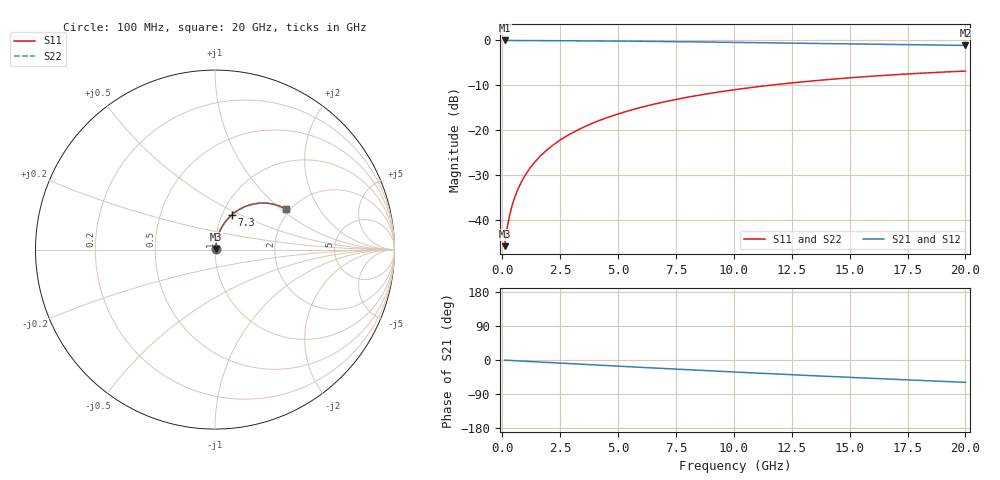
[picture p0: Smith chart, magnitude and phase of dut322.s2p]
! Touchstone file exported from HFSS 2026.1.0
!  File:  C:/ffzhzh/LocalFiles/Ansys_Project_Files/temp_train_TMRDL_322_1783003482_4048.aedt
!  Generated:  10:46:24 PM Jul  2, 2026
!  Design:  TMRDL
!  Project:  temp_train_TMRDL_322_1783003482_4048
! Variables:
!  h_bsmrdl = 2um
!  h_ox = 20um
!  h_rdl = 5um
!  h_sub = 80um
!  h_tmrdl = 3.42um
!  h_tsv = 80um
!  h_via = 3um
!  l_bsmrdl = 300um
!  l_sub = 1329.63um
!  l_tmrdl = 929.63um
!  m_sub = 200um
!  pitch = 53.65um
!  r_tsv = 6um
!  s_tmrdl = 10um
!  w_bsmrdl = 18um
!  w_sub = 500um
!  w_tmrdl = 27.07um
!  x_tsv_center1 = 943.165um
!  x_tsv_center2 = 1261.165um
!  x_tsv_center3 = 2217.865um
!  x_tsv_center4 = 2535.865um
!  x_tsv_center5 = 3492.565um
!  x_tsv_center6 = 3810.565um
# GHz S MA R 50.000000
! Terminal data exported
! Port[1] = TM_RDL1_1_T1
! Port[2] = TM_RDL1_1_T2
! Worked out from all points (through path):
!   200 points, 100 MHz to 20 GHz, reference 50 ohm
!   highest |S21| = -0.03 dB at 100 MHz (marker M1); lowest = -1.1 dB at 20 GHz (marker M2)
!   group delay of S21, straight-line fit = 8.19 ps
!   lowest |S11| = -45.7 dB at 100 MHz (marker M3), VSWR 1.01, Z = 50.4 + j0.351 ohm
!   |S11| at or under -10 dB: start of sweep to 11.53 GHz
!   |S22| runs from -45.7 to -6.8 dB; largest |S21 - S12| = 3.8e-15
!   S11 on the Smith chart (normalised r, x): 100 MHz: 1.01, +0.01; 7.3 GHz: 1.11, +0.45; 20 GHz: 1.91, +1.08
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0.1  0.005176 42.3  0.9962 -0.4  0.9962 -0.4  0.005176 42.3
! Gamma 0 0 0 0
! Port Impedance 50 0 50 0
0.2  0.007971 58.7  0.9959 -0.7  0.9959 -0.7  0.007971 58.7
0.3  0.01094 65.8  0.9956 -1.0  0.9956 -1.0  0.01094 65.8
0.4  0.01393 69.8  0.9954 -1.4  0.9954 -1.4  0.01393 69.8
0.5  0.01692 72.4  0.9952 -1.7  0.9952 -1.7  0.01692 72.4
0.6  0.01992 74.2  0.9951 -2.0  0.9951 -2.0  0.01992 74.2
0.8  0.02598 76.5  0.9948 -2.7  0.9948 -2.7  0.02598 76.5
1.1  0.03515 78.1  0.9944 -3.6  0.9944 -3.6  0.03515 78.1
1.3  0.04129 78.6  0.9941 -4.3  0.9941 -4.3  0.04129 78.6
1.6  0.05052 78.8  0.9935 -5.3  0.9935 -5.3  0.05052 78.8
2.1  0.06587 78.3  0.9924 -6.9  0.9924 -6.9  0.06587 78.3
2.7  0.08417 77.2  0.9907 -8.9  0.9907 -8.9  0.08417 77.2
3.5  0.1083 75.2  0.9879 -11.5  0.9879 -11.5  0.1083 75.2
4.2  0.129 73.3  0.9849 -13.7  0.9849 -13.7  0.129 73.3
5  0.1521 71.0  0.9811 -16.3  0.9811 -16.3  0.1521 71.0
6.8  0.202 65.6  0.9708 -21.9  0.9708 -21.9  0.202 65.7
7.3  0.2152 64.2  0.9677 -23.5  0.9677 -23.5  0.2152 64.2
8.6  0.2484 60.3  0.959 -27.4  0.959 -27.4  0.2484 60.4
10.1  0.2843 56.0  0.9483 -31.9  0.9483 -31.9  0.2843 56.0
13.4  0.3541 46.8  0.9236 -41.4  0.9236 -41.4  0.3541 46.8
16.7  0.411 38.0  0.8995 -50.4  0.8995 -50.4  0.4111 38.0
20  0.4555 29.6  0.8779 -58.9  0.8779 -58.9  0.4555 29.7
